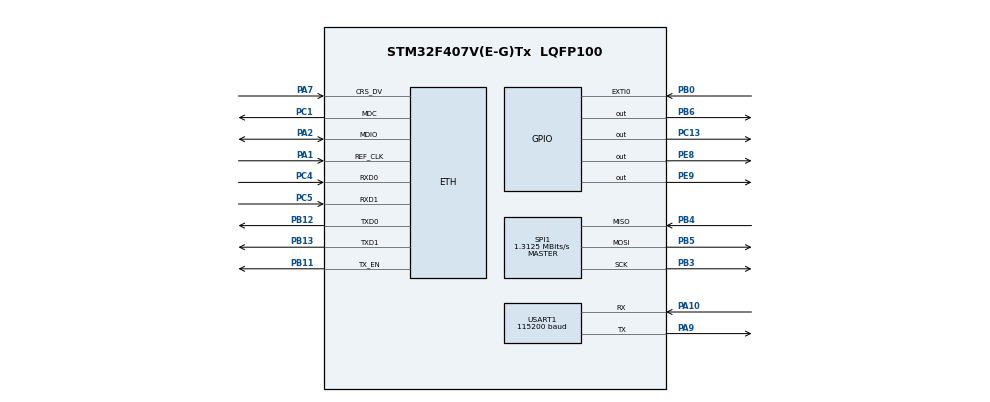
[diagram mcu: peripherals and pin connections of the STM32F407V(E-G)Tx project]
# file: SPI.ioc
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Dma.Request0=USART1_RX
Dma.Request1=USART1_TX
Dma.USART1_RX.0.Direction=DMA_PERIPH_TO_MEMORY
Dma.USART1_RX.0.FIFOMode=DMA_FIFOMODE_DISABLE
Dma.USART1_RX.0.Instance=DMA2_Stream2
Dma.USART1_RX.0.MemDataAlignment=DMA_MDATAALIGN_BYTE
Dma.USART1_RX.0.MemInc=DMA_MINC_ENABLE
Dma.USART1_RX.0.Mode=DMA_NORMAL
Dma.USART1_RX.0.PeriphDataAlignment=DMA_PDATAALIGN_BYTE
Dma.USART1_RX.0.PeriphInc=DMA_PINC_DISABLE
Dma.USART1_RX.0.Priority=DMA_PRIORITY_HIGH
Dma.USART1_TX.1.Direction=DMA_MEMORY_TO_PERIPH
Dma.USART1_TX.1.FIFOMode=DMA_FIFOMODE_DISABLE
Dma.USART1_TX.1.Instance=DMA2_Stream7
Dma.USART1_TX.1.MemDataAlignment=DMA_MDATAALIGN_BYTE
Dma.USART1_TX.1.MemInc=DMA_MINC_ENABLE
Dma.USART1_TX.1.Mode=DMA_NORMAL
Dma.USART1_TX.1.PeriphDataAlignment=DMA_PDATAALIGN_BYTE
Dma.USART1_TX.1.PeriphInc=DMA_PINC_DISABLE
Dma.USART1_TX.1.Priority=DMA_PRIORITY_HIGH
ETH.MACAddr=12\:34\:56\:78\:9A\:BC
ETH.MediaInterface=HAL_ETH_RMII_MODE
LWIP.BSP.number=1
LWIP.DHCP_DOES_ARP_CHECK=0
LWIP.GATEWAY_ADDRESS=192.168.000.001
LWIP.IP_ADDRESS=192.168.000.010
LWIP.LWIP_BROADCAST_PING=1
LWIP.LWIP_DHCP=0
LWIP.NETMASK_ADDRESS=255.255.255.000
LWIP.Version=v2.1.2_Cube
LWIP0.BSP.STBoard=false
LWIP0.BSP.api=BSP_COMPONENT_DRIVER
LWIP0.BSP.component=DP83848
LWIP0.BSP.instance=DP83848
LWIP0.BSP.name=Driver_PHY
LWIP0.BSP.semaphore=S_DP83848
LWIP0.BSP.solution=DP83848
Mcu.Family=STM32F4
Mcu.Name=STM32F407V(E-G)Tx
Mcu.Package=LQFP100
NVIC.DMA2_Stream2_IRQn=true\:0\:0\:false\:false\:true\:false\:true\:true
NVIC.DMA2_Stream7_IRQn=true\:0\:0\:false\:false\:true\:false\:true\:true
NVIC.EXTI0_IRQn=true\:0\:0\:false\:false\:true\:true\:true\:true
NVIC.PriorityGroup=NVIC_PRIORITYGROUP_4
NVIC.SPI1_IRQn=true\:0\:0\:false\:false\:true\:true\:true\:true
NVIC.TIM7_IRQn=true\:0\:0\:false\:false\:true\:true\:true\:true
NVIC.USART1_IRQn=true\:0\:0\:false\:false\:true\:true\:true\:true
PA1.Mode=RMII
PA1.Signal=ETH_REF_CLK
PA10.Mode=Asynchronous
PA10.Signal=USART1_RX
PA2.Mode=RMII
PA2.Signal=ETH_MDIO
PA7.Mode=RMII
PA7.Signal=ETH_CRS_DV
PA9.Mode=Asynchronous
PA9.Signal=USART1_TX
PB0.GPIO_PuPd=GPIO_PULLDOWN
PB0.Signal=GPXTI0
PB11.Mode=RMII
PB11.Signal=ETH_TX_EN
PB12.Mode=RMII
PB12.Signal=ETH_TXD0
PB13.Mode=RMII
PB13.Signal=ETH_TXD1
PB3.Mode=Full_Duplex_Master
PB3.Signal=SPI1_SCK
PB4.Mode=Full_Duplex_Master
PB4.Signal=SPI1_MISO
PB5.Mode=Full_Duplex_Master
PB5.Signal=SPI1_MOSI
PB6.GPIO_PuPd=GPIO_NOPULL
PB6.GPIO_Speed=GPIO_SPEED_FREQ_VERY_HIGH
PB6.PinState=GPIO_PIN_SET
PB6.Signal=GPIO_Output
PC1.Mode=RMII
PC1.Signal=ETH_MDC
PC13-ANTI_TAMP.Signal=GPIO_Output
PC4.Mode=RMII
PC4.Signal=ETH_RXD0
PC5.Mode=RMII
PC5.Signal=ETH_RXD1
PE8.GPIO_PuPd=GPIO_NOPULL
PE8.GPIO_Speed=GPIO_SPEED_FREQ_VERY_HIGH
PE8.Signal=GPIO_Output
PE9.Signal=GPIO_Output
ProjectManager.HeapSize=0x200
ProjectManager.StackSize=0x400
ProjectManager.TargetToolchain=MDK-ARM V5
RCC.48MHZClocksFreq_Value=84000000
RCC.AHBFreq_Value=168000000
RCC.APB1CLKDivider=RCC_HCLK_DIV4
RCC.APB1Freq_Value=42000000
RCC.APB1TimFreq_Value=84000000
RCC.APB2CLKDivider=RCC_HCLK_DIV2
RCC.APB2Freq_Value=84000000
RCC.APB2TimFreq_Value=168000000
RCC.CortexFreq_Value=168000000
RCC.FLatency=FLASH_LATENCY_5
RCC.HCLKFreq_Value=168000000
RCC.HSE_VALUE=25000000
RCC.HSI_VALUE=16000000
RCC.LSE_VALUE=32768
RCC.PLLM=8
RCC.PLLN=168
RCC.SYSCLKFreq_VALUE=168000000
RCC.SYSCLKSource=RCC_SYSCLKSOURCE_PLLCLK
RCC.VCOOutputFreq_Value=336000000
SPI1.BaudRatePrescaler=SPI_BAUDRATEPRESCALER_64
SPI1.CLKPhase=SPI_PHASE_2EDGE
SPI1.CLKPolarity=SPI_POLARITY_LOW
SPI1.CRCCalculation=SPI_CRCCALCULATION_DISABLE
SPI1.CalculateBaudRate=1.3125 MBits/s
SPI1.DataSize=SPI_DATASIZE_8BIT
SPI1.Direction=SPI_DIRECTION_2LINES
SPI1.FirstBit=SPI_FIRSTBIT_MSB
SPI1.Mode=SPI_MODE_MASTER
SPI1.NSS=SPI_NSS_SOFT
SPI1.TIMode=SPI_TIMODE_DISABLE
SPI1.VirtualType=VM_MASTER
TIM7.AutoReloadPreload=TIM_AUTORELOAD_PRELOAD_ENABLE
TIM7.CounterMode=TIM_COUNTERMODE_UP
TIM7.Period=4999
TIM7.Prescaler=8399
TIM7.TIM_MasterOutputTrigger=TIM_TRGO_RESET
USART1.BaudRate=115200
USART1.Mode=MODE_TX_RX
USART1.OverSampling=UART_OVERSAMPLING_16
USART1.Parity=PARITY_NONE
USART1.StopBits=STOPBITS_1
USART1.VirtualMode=VM_ASYNC
USART1.WordLength=WORDLENGTH_8B
VP_LWIP_VS_Enabled.Mode=Enabled
VP_TIM7_VS_ClockSourceINT.Mode=Enable_Timer
board=custom

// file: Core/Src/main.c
/* USER CODE BEGIN Header */
/**
 ******************************************************************************
 * @file           : main.c
 * @brief          : Main program body
 ******************************************************************************
 * @attention
 *
 * Copyright (c) 2023 STMicroelectronics.
 * All rights reserved.
 *
 * This software is licensed under terms that can be found in the LICENSE file
 * in the root directory of this software component.
 * If no LICENSE file comes with this software, it is provided AS-IS.
 *
 ******************************************************************************
 */
/* USER CODE END Header */
#include "main.h"
#include "dma.h"
#include "lwip.h"
#include "spi.h"
#include "tim.h"
#include "usart.h"
#include "gpio.h"

void SystemClock_Config(void);

int main(void) {
    /* USER CODE BEGIN 1 */
#if (TEST_STEP == 9) && (USE_IAP == 1)
    SCB->VTOR = APP_FLASH_ORIGIN;
#elif TEST_STEP == 10
    uint32_t addr = APP_FLASH_ORIGIN;
    iap_load_app(addr);
#endif
    /* USER CODE END 1 */

    /* MCU Configuration--------------------------------------------------------*/

    /* Reset of all peripherals, Initializes the Flash interface and the Systick. */
    HAL_Init();

    /* Configure the system clock */
    SystemClock_Config();

    /* Initialize all configured peripherals */
    MX_GPIO_Init();
    MX_DMA_Init();
    MX_TIM7_Init();
    MX_USART1_UART_Init();
    MX_SPI1_Init();
    MX_LWIP_Init();
    /* USER CODE BEGIN 2 */

#if TEST_STEP == 3
    char buf[] = "OK";
    USART1_Print(buf, strlen(buf));
#elif TEST_STEP == 4
    char buf[] = "OK";
    USART1_Print(buf, strlen(buf));
#elif TEST_STEP == 5
    // 初始化ads1255
    NVIC_DisableIRQ(EXTI0_IRQn);
    ADS1255_init();
    NVIC_EnableIRQ(EXTI0_IRQn); /* 开启GPIOB_0外部中断，用于连续接收ads1255数据 */
    delay_ms(1);
    uint8_t i = 0;
#elif TEST_STEP == 8
    char buf[] = "OK";
    USART1_Print(buf, strlen(buf));
    FLASH_Init();
#elif TEST_STEP == 9
    USART1_Print("OK\r\n", strlen("OK\r\n"));
    LL_GPIO_TogglePin(GPIOC, LL_GPIO_PIN_13);
#elif TEST_STEP == 11
    tcp_server_init();
    udp_server_init();
#endif

    /* USER CODE END 2 */

    /* Infinite loop */
    /* USER CODE BEGIN WHILE */
    while (1) {
#if TEST_STEP == 1
        // 控制led
        LL_GPIO_TogglePin(GPIOC, LL_GPIO_PIN_13);
        LL_mDelay(500);
#elif TEST_STEP == 2
        // 定时器控制LED
        LL_mDelay(3);
#if TIM_LED_METHOD == 1
        // method 1: 定时器
#elif TIM_LED_METHOD == 2
        // method 2: 定时器+全局变量
        // ref: https://blog.csdn.net/qq_39842609/article/details/125860802
        if (g_time == 1)
        {
          LL_GPIO_TogglePin(GPIOC, LL_GPIO_PIN_13);
          g_time = 0;
        }
#endif

#elif TEST_STEP == 3
        // USART接收和发送
        if (g_rxtx_flag == 1) {
            USART1_Print("receive(USART) : ", strlen("receive(USART) : "));
            USART1_Print(g_rx_buf, strlen(g_rx_buf));
            g_rxtx_flag = 0;
        }
#elif TEST_STEP == 4
        // USART+DMA接收和发送
        if (g_rxtx_flag == 1) {
            USART1_DMA_Send("receive(USART+DMA) : ", strlen("receive(USART+DMA) : "));
            LL_mDelay(1); // 防止发送的接收数据覆盖
            USART1_DMA_Send(g_dma_tx_buf, strlen(g_dma_tx_buf));
            g_rxtx_flag = 0;
        }
#elif TEST_STEP == 5
        // SPI发送和接受
        SPI1_WriteReadByte(ADS1255_CMD_WAKEUP);
        SPI1_WriteReadByte(ADS1255_CMD_RESET);
        delay_ms(1);
        uint8_t wreg_vals[] = {i, i + 1, i + 2, i + 3};
        ADS1255_WriteRegs(REG_STATUS,
                          wreg_vals,
                          sizeof(wreg_vals) / sizeof(wreg_vals[0]));
        SPI1_WriteReadByte(ADS1255_CMD_SYNC);
        i++;
        if (g_rxtx_flag == 1) {
            delay_ms(1); // 防止发送的接收数据覆盖
            g_rxtx_flag = 0;
        }
#elif TEST_STEP == 7
        SPI1_WriteReadByte(0x98);
        delay_ms(1);
#elif TEST_STEP == 9
        static uint8_t i = 0;
        char buf[2] = {i + '0', 0};
        i = (i >= 9) ? 0 : i + 1;
        USART1_Print(buf, strlen(buf));
        LL_mDelay(100);
#elif TEST_STEP == 11
        MX_LWIP_Process();
#endif
        /* USER CODE END WHILE */
    }
}

void SystemClock_Config(void) {
    LL_FLASH_SetLatency(LL_FLASH_LATENCY_5);
    while (LL_FLASH_GetLatency() != LL_FLASH_LATENCY_5) {
    }
    LL_PWR_SetRegulVoltageScaling(LL_PWR_REGU_VOLTAGE_SCALE1);
    LL_RCC_HSI_SetCalibTrimming(16);
    LL_RCC_HSI_Enable();

    /* Wait till HSI is ready */
    while (LL_RCC_HSI_IsReady() != 1) {

    }
    LL_RCC_PLL_ConfigDomain_SYS(LL_RCC_PLLSOURCE_HSI, LL_RCC_PLLM_DIV_8, 168, LL_RCC_PLLP_DIV_2);
    LL_RCC_PLL_Enable();

    /* Wait till PLL is ready */
    while (LL_RCC_PLL_IsReady() != 1) {

    }
    while (LL_PWR_IsActiveFlag_VOS() == 0) {
    }
    LL_RCC_SetAHBPrescaler(LL_RCC_SYSCLK_DIV_1);
    LL_RCC_SetAPB1Prescaler(LL_RCC_APB1_DIV_4);
    LL_RCC_SetAPB2Prescaler(LL_RCC_APB2_DIV_2);
    LL_RCC_SetSysClkSource(LL_RCC_SYS_CLKSOURCE_PLL);

    /* Wait till System clock is ready */
    while (LL_RCC_GetSysClkSource() != LL_RCC_SYS_CLKSOURCE_STATUS_PLL) {

    }
    LL_SetSystemCoreClock(168000000);

    /* Update the time base */
    if (HAL_InitTick(TICK_INT_PRIORITY) != HAL_OK) {
        Error_Handler();
    }
}

void Error_Handler(void) {
    __disable_irq();
    while (1) {
    }
}
